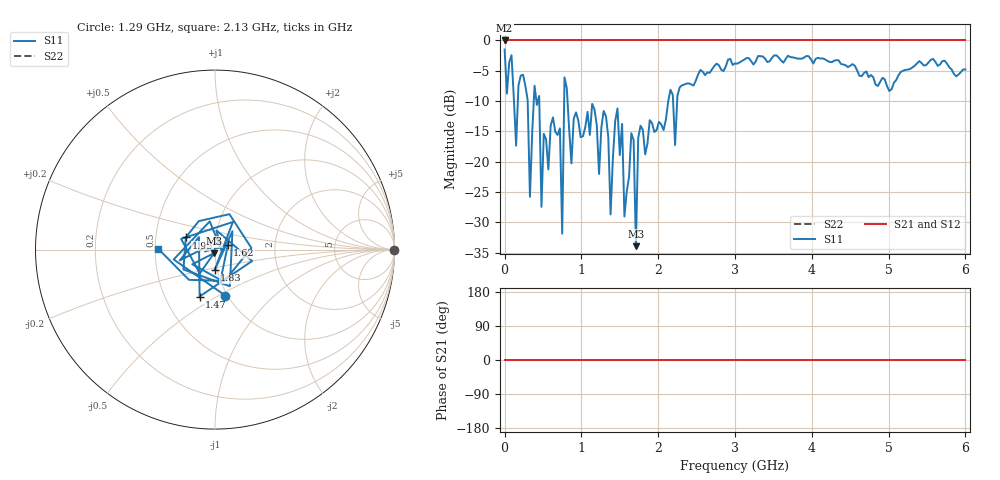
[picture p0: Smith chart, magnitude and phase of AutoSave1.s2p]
!Keysight Technologies N9916A: A.08.06
!Date: Thursday, 30 May 2024 20:09:04
!Timezone: (GMT+10:00) Brisbane
!Model: N9916A
!Serial: MY53102361
!GPS Latitude:
!GPS Longitude:
!GPS TimeStamp: 0001-01-01 00:00:00Z
!GPS Seconds Since Last Read: 0
!CHECKSUM:0789950438
!Correction: S11(Rdy)S21()S12()S22()
!S2P File: Measurements:S11,S21,S12,S22:
# Hz S RI R 50
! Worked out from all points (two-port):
!   201 points, 30 kHz to 6 GHz, reference 50 ohm
!   highest |S21| = 0.00 dB at 30 kHz (marker M1); lowest = 0.0 dB at 30 kHz (marker M2)
!   |S21| within 3 dB of the highest: start of sweep to end of sweep
!   lowest |S11| = -33.9 dB at 1.71 GHz (marker M3), VSWR 1.04, Z = 49.5 - j1.93 ohm
!   |S11| at or under -10 dB: 300.4 MHz to 379.9 MHz (79.54 MHz wide, 23.4 % of centre); 451.4 MHz to 775.5 MHz (324 MHz wide, 52.8 % of centre); 819.5 MHz to 2.131 GHz (1.311 GHz wide, 88.9 % of centre)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
!   |S22| runs from 0.0 to 0.0 dB; largest |S21 - S12| = 0
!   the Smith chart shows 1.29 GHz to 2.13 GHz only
!   S11 on the Smith chart (normalised r, x): 1.29 GHz: 0.98, -0.54; 1.47 GHz: 0.74, -0.42; 1.62 GHz: 1.15, +0.05; 1.83 GHz: 0.97, -0.23; 1.95 GHz: 0.71, +0.10; 2.13 GHz: 0.52, +0.00
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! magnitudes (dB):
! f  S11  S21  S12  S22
! 30 kHz  -1.5  0.0  0.0  0.0
! 330 MHz  -25.8  0.0  0.0  0.0
! 390 MHz  -7.5  0.0  0.0  0.0
! 480 MHz  -27.4  0.0  0.0  0.0
! 720 MHz  -14.5  0.0  0.0  0.0
! 750 MHz  -31.9  0.0  0.0  0.0
! 780 MHz  -6.1  0.0  0.0  0.0
! 1.02 GHz  -15.8  0.0  0.0  0.0
! 1.29 GHz  -11.6  0.0  0.0  0.0
! 1.38 GHz  -28.7  0.0  0.0  0.0
! 1.47 GHz  -11.2  0.0  0.0  0.0
! 1.62 GHz  -22.5  0.0  0.0  0.0
! 1.71 GHz  -33.9  0.0  0.0  0.0
! 1.74 GHz  -16.0  0.0  0.0  0.0
! 1.83 GHz  -18.8  0.0  0.0  0.0
! 1.95 GHz  -15.1  0.0  0.0  0.0
! 2.01 GHz  -13.4  0.0  0.0  0.0
! 2.13 GHz  -10.0  0.0  0.0  0.0
! 3 GHz  -3.8  0.0  0.0  0.0
! 4.02 GHz  -3.8  0.0  0.0  0.0
! 5.01 GHz  -8.3  0.0  0.0  0.0
! 6 GHz  -4.8  0.0  0.0  0.0
